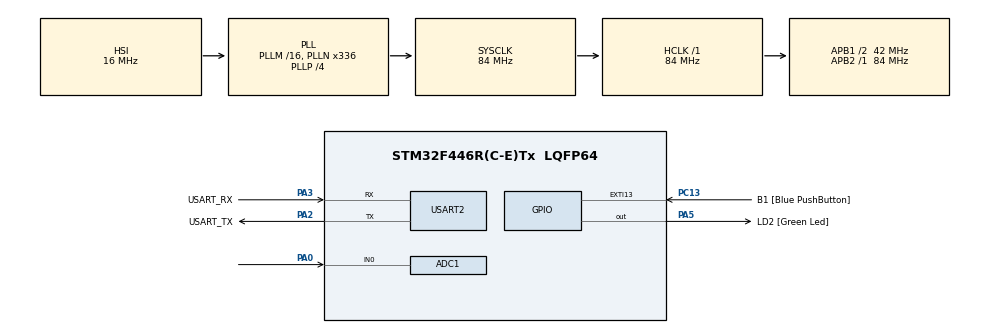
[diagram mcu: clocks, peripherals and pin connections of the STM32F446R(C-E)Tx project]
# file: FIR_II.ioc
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ADC1.Channel-0\#ChannelRegularConversion=ADC_CHANNEL_0
ADC1.ContinuousConvMode=DISABLE
ADC1.DMAContinuousRequests=ENABLE
ADC1.ExternalTrigConv=ADC_EXTERNALTRIGCONV_T3_TRGO
ADC1.NbrOfConversionFlag=1
ADC1.Rank-0\#ChannelRegularConversion=1
ADC1.SamplingTime-0\#ChannelRegularConversion=ADC_SAMPLETIME_3CYCLES
ADC1.master=1
Dma.ADC1.0.Direction=DMA_PERIPH_TO_MEMORY
Dma.ADC1.0.FIFOMode=DMA_FIFOMODE_DISABLE
Dma.ADC1.0.Instance=DMA2_Stream0
Dma.ADC1.0.MemDataAlignment=DMA_MDATAALIGN_HALFWORD
Dma.ADC1.0.MemInc=DMA_MINC_ENABLE
Dma.ADC1.0.Mode=DMA_CIRCULAR
Dma.ADC1.0.PeriphDataAlignment=DMA_PDATAALIGN_HALFWORD
Dma.ADC1.0.PeriphInc=DMA_PINC_DISABLE
Dma.ADC1.0.Priority=DMA_PRIORITY_LOW
Dma.Request0=ADC1
Mcu.Family=STM32F4
Mcu.Name=STM32F446R(C-E)Tx
Mcu.Package=LQFP64
NVIC.DMA2_Stream0_IRQn=true\:0\:0\:false\:false\:true\:false\:true\:true
NVIC.PriorityGroup=NVIC_PRIORITYGROUP_0
PA0-WKUP.Signal=ADCx_IN0
PA13.GPIO_Label=TMS
PA13.Mode=Serial_Wire
PA13.Signal=SYS_JTMS-SWDIO
PA14.GPIO_Label=TCK
PA14.Mode=Serial_Wire
PA14.Signal=SYS_JTCK-SWCLK
PA2.GPIO_Label=USART_TX
PA2.Mode=Asynchronous
PA2.Signal=USART2_TX
PA3.GPIO_Label=USART_RX
PA3.Mode=Asynchronous
PA3.Signal=USART2_RX
PA5.GPIO_Label=LD2 [Green Led]
PA5.Signal=GPIO_Output
PB3.GPIO_Label=SWO
PB3.Signal=SYS_JTDO-SWO
PC13.GPIO_Label=B1 [Blue PushButton]
PC13.GPIO_ModeDefaultEXTI=GPIO_MODE_IT_FALLING
PC13.Signal=GPXTI13
PC14-OSC32_IN.Mode=LSE-External-Oscillator
PC14-OSC32_IN.Signal=RCC_OSC32_IN
PC15-OSC32_OUT.Mode=LSE-External-Oscillator
PC15-OSC32_OUT.Signal=RCC_OSC32_OUT
PH0-OSC_IN.Mode=HSE-External-Oscillator
PH0-OSC_IN.Signal=RCC_OSC_IN
PH1-OSC_OUT.Mode=HSE-External-Oscillator
PH1-OSC_OUT.Signal=RCC_OSC_OUT
ProjectManager.HeapSize=0x200
ProjectManager.StackSize=0x400
ProjectManager.TargetToolchain=STM32CubeIDE
RCC.48MHZClocksFreq_Value=84000000
RCC.AHBFreq_Value=84000000
RCC.APB1CLKDivider=RCC_HCLK_DIV2
RCC.APB1Freq_Value=42000000
RCC.APB1TimFreq_Value=84000000
RCC.APB2Freq_Value=84000000
RCC.APB2TimFreq_Value=84000000
RCC.CortexFreq_Value=84000000
RCC.FLatency-AdvancedSettings=FLASH_LATENCY_2
RCC.HCLKFreq_Value=84000000
RCC.HSE_VALUE=8000000
RCC.HSI_VALUE=16000000
RCC.PLLN=336
RCC.PLLP=RCC_PLLP_DIV4
RCC.SYSCLKFreq_VALUE=84000000
RCC.SYSCLKSource=RCC_SYSCLKSOURCE_PLLCLK
RCC.USBFreq_Value=168000000
RCC.VCOOutputFreq_Value=336000000
SH.ADCx_IN0.0=ADC1_IN0,IN0
TIM3.Period=999
TIM3.Prescaler=83
TIM3.TIM_MasterOutputTrigger=TIM_TRGO_UPDATE
USART2.VirtualMode=VM_ASYNC
VP_TIM3_VS_ClockSourceINT.Mode=Internal
board=NUCLEO-F446RE

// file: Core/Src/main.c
/* USER CODE BEGIN Header */
/**
  ******************************************************************************
  * @file           : main.c
  * @brief          : Main program body
  ******************************************************************************
  * @attention
  *
  * Copyright (c) 2026 STMicroelectronics.
  * All rights reserved.
  *
  * This software is licensed under terms that can be found in the LICENSE file
  * in the root directory of this software component.
  * If no LICENSE file comes with this software, it is provided AS-IS.
  *
  ******************************************************************************
  */
/* USER CODE END Header */
#include "main.h"

/* USER CODE BEGIN Includes */
#include "filter_iir.h"
#include <stdio.h> // do printf
/* USER CODE END Includes */

ADC_HandleTypeDef hadc1;
DMA_HandleTypeDef hdma_adc1;

TIM_HandleTypeDef htim3;

UART_HandleTypeDef huart2;

/* USER CODE BEGIN PV */
#ifdef __GNUC__
/* Dla STM32CubeIDE i innych opartych na GCC */
#define PUTCHAR_PROTOTYPE int __io_putchar(int ch)
#else
#define PUTCHAR_PROTOTYPE int fputc(int ch, FILE *f)
#endif
extern UART_HandleTypeDef huart2;

PUTCHAR_PROTOTYPE
{
  // Wysyłamy jeden znak przez UART
  HAL_UART_Transmit(&huart2, (uint8_t *)&ch, 1, HAL_MAX_DELAY);
  return ch;
}
Filter2ndOrder_t myFilter;
uint16_t adc_raw = 0;
float filtered_value = 0;

float out_iir = 0;   // Twój obecny filtr II rzędu
float out_ema = 0;   // Filtr wykładniczy (kształt ładowania kondensatora)
float out_ma = 0;    // Średnia krocząca (kształt schodkowy/pudełkowy)

// Parametry dla EMA
const float ALPHA = 0.05f;

// Parametry dla Średniej Kroczącej (Moving Average)
#define MA_SIZE 16
float ma_buffer[MA_SIZE] = {0};
uint8_t ma_idx = 0;
/* USER CODE END PV */

void SystemClock_Config(void);
static void MX_GPIO_Init(void);
static void MX_DMA_Init(void);
static void MX_USART2_UART_Init(void);
static void MX_ADC1_Init(void);
static void MX_TIM3_Init(void);

int main(void)
{

  /* MCU Configuration--------------------------------------------------------*/

  /* Reset of all peripherals, Initializes the Flash interface and the Systick. */
  HAL_Init();

  /* Configure the system clock */
  SystemClock_Config();

  /* Initialize all configured peripherals */
  MX_GPIO_Init();
  MX_DMA_Init();
  MX_USART2_UART_Init();
  MX_ADC1_Init();
  MX_TIM3_Init();
  /* USER CODE BEGIN 2 */
  // Inicjalizacja filtra: LP Butterworth, Fc=10Hz, Fs=1000Hz
  // Współczynniki wyliczone dla powyższych parametrów:
  Filter_Init(&myFilter, 0.00094469f, 0.00188938f, 0.00094469f, -1.91119707f, 0.91497583f);

  HAL_ADC_Start_DMA(&hadc1, (uint32_t*)&adc_raw, 1);
  HAL_TIM_Base_Start(&htim3); // Start taktowania 1kHz
  /* USER CODE END 2 */

  /* Infinite loop */
  while (1)
  {

    /* USER CODE BEGIN 3 */
	  // 1. Twój obecny filtr II rzędu (Butterworth)
	  out_iir = Filter_Update(&myFilter, (float)adc_raw);

	  // 2. Filtr EMA (Exponential Moving Average) - daje gładki, "leniwy" kształt
	  out_ema = (ALPHA * (float)adc_raw) + ((1.0f - ALPHA) * out_ema);

	  // 3. Prosta średnia krocząca (Moving Average)
	  ma_buffer[ma_idx] = (float)adc_raw;
	  ma_idx = (ma_idx + 1) % MA_SIZE;
	  float sum = 0;
	  for(int i=0; i<MA_SIZE; i++) sum += ma_buffer[i];
	  out_ma = sum / MA_SIZE;

	  // 4. PRINTOWANIE - to jest kluczowe dla Oscyloskopu!
	  // Usuwamy opisy tekstowe, zostawiamy liczby po przecinku
	  printf("%d,%.2f,%.2f,%.2f\r\n", adc_raw, out_iir, out_ema, out_ma);

	  HAL_Delay(5); // Mały odstęp dla stabilności UART
  }
  /* USER CODE END 3 */
}

void SystemClock_Config(void)
{
  RCC_OscInitTypeDef RCC_OscInitStruct = {0};
  RCC_ClkInitTypeDef RCC_ClkInitStruct = {0};

  /** Configure the main internal regulator output voltage
  */
  __HAL_RCC_PWR_CLK_ENABLE();
  __HAL_PWR_VOLTAGESCALING_CONFIG(PWR_REGULATOR_VOLTAGE_SCALE3);

  /** Initializes the RCC Oscillators according to the specified parameters
  * in the RCC_OscInitTypeDef structure.
  */
  RCC_OscInitStruct.OscillatorType = RCC_OSCILLATORTYPE_HSI;
  RCC_OscInitStruct.HSIState = RCC_HSI_ON;
  RCC_OscInitStruct.HSICalibrationValue = RCC_HSICALIBRATION_DEFAULT;
  RCC_OscInitStruct.PLL.PLLState = RCC_PLL_ON;
  RCC_OscInitStruct.PLL.PLLSource = RCC_PLLSOURCE_HSI;
  RCC_OscInitStruct.PLL.PLLM = 16;
  RCC_OscInitStruct.PLL.PLLN = 336;
  RCC_OscInitStruct.PLL.PLLP = RCC_PLLP_DIV4;
  RCC_OscInitStruct.PLL.PLLQ = 2;
  RCC_OscInitStruct.PLL.PLLR = 2;
  if (HAL_RCC_OscConfig(&RCC_OscInitStruct) != HAL_OK)
  {
    Error_Handler();
  }

  /** Initializes the CPU, AHB and APB buses clocks
  */
  RCC_ClkInitStruct.ClockType = RCC_CLOCKTYPE_HCLK|RCC_CLOCKTYPE_SYSCLK
                              |RCC_CLOCKTYPE_PCLK1|RCC_CLOCKTYPE_PCLK2;
  RCC_ClkInitStruct.SYSCLKSource = RCC_SYSCLKSOURCE_PLLCLK;
  RCC_ClkInitStruct.AHBCLKDivider = RCC_SYSCLK_DIV1;
  RCC_ClkInitStruct.APB1CLKDivider = RCC_HCLK_DIV2;
  RCC_ClkInitStruct.APB2CLKDivider = RCC_HCLK_DIV1;

  if (HAL_RCC_ClockConfig(&RCC_ClkInitStruct, FLASH_LATENCY_2) != HAL_OK)
  {
    Error_Handler();
  }
}

static void MX_ADC1_Init(void)
{

  ADC_ChannelConfTypeDef sConfig = {0};

  /** Configure the global features of the ADC (Clock, Resolution, Data Alignment and number of conversion)
  */
  hadc1.Instance = ADC1;
  hadc1.Init.ClockPrescaler = ADC_CLOCK_SYNC_PCLK_DIV4;
  hadc1.Init.Resolution = ADC_RESOLUTION_12B;
  hadc1.Init.ScanConvMode = DISABLE;
  hadc1.Init.ContinuousConvMode = DISABLE;
  hadc1.Init.DiscontinuousConvMode = DISABLE;
  hadc1.Init.ExternalTrigConvEdge = ADC_EXTERNALTRIGCONVEDGE_RISING;
  hadc1.Init.ExternalTrigConv = ADC_EXTERNALTRIGCONV_T3_TRGO;
  hadc1.Init.DataAlign = ADC_DATAALIGN_RIGHT;
  hadc1.Init.NbrOfConversion = 1;
  hadc1.Init.DMAContinuousRequests = ENABLE;
  hadc1.Init.EOCSelection = ADC_EOC_SINGLE_CONV;
  if (HAL_ADC_Init(&hadc1) != HAL_OK)
  {
    Error_Handler();
  }

  /** Configure for the selected ADC regular channel its corresponding rank in the sequencer and its sample time.
  */
  sConfig.Channel = ADC_CHANNEL_0;
  sConfig.Rank = 1;
  sConfig.SamplingTime = ADC_SAMPLETIME_3CYCLES;
  if (HAL_ADC_ConfigChannel(&hadc1, &sConfig) != HAL_OK)
  {
    Error_Handler();
  }

}

static void MX_TIM3_Init(void)
{

  TIM_ClockConfigTypeDef sClockSourceConfig = {0};
  TIM_MasterConfigTypeDef sMasterConfig = {0};

  htim3.Instance = TIM3;
  htim3.Init.Prescaler = 83;
  htim3.Init.CounterMode = TIM_COUNTERMODE_UP;
  htim3.Init.Period = 999;
  htim3.Init.ClockDivision = TIM_CLOCKDIVISION_DIV1;
  htim3.Init.AutoReloadPreload = TIM_AUTORELOAD_PRELOAD_DISABLE;
  if (HAL_TIM_Base_Init(&htim3) != HAL_OK)
  {
    Error_Handler();
  }
  sClockSourceConfig.ClockSource = TIM_CLOCKSOURCE_INTERNAL;
  if (HAL_TIM_ConfigClockSource(&htim3, &sClockSourceConfig) != HAL_OK)
  {
    Error_Handler();
  }
  sMasterConfig.MasterOutputTrigger = TIM_TRGO_UPDATE;
  sMasterConfig.MasterSlaveMode = TIM_MASTERSLAVEMODE_DISABLE;
  if (HAL_TIMEx_MasterConfigSynchronization(&htim3, &sMasterConfig) != HAL_OK)
  {
    Error_Handler();
  }

}

static void MX_USART2_UART_Init(void)
{

  huart2.Instance = USART2;
  huart2.Init.BaudRate = 115200;
  huart2.Init.WordLength = UART_WORDLENGTH_8B;
  huart2.Init.StopBits = UART_STOPBITS_1;
  huart2.Init.Parity = UART_PARITY_NONE;
  huart2.Init.Mode = UART_MODE_TX_RX;
  huart2.Init.HwFlowCtl = UART_HWCONTROL_NONE;
  huart2.Init.OverSampling = UART_OVERSAMPLING_16;
  if (HAL_UART_Init(&huart2) != HAL_OK)
  {
    Error_Handler();
  }

}

static void MX_DMA_Init(void)
{

  /* DMA controller clock enable */
  __HAL_RCC_DMA2_CLK_ENABLE();

  /* DMA interrupt init */
  /* DMA2_Stream0_IRQn interrupt configuration */
  HAL_NVIC_SetPriority(DMA2_Stream0_IRQn, 0, 0);
  HAL_NVIC_EnableIRQ(DMA2_Stream0_IRQn);

}

static void MX_GPIO_Init(void)
{
  GPIO_InitTypeDef GPIO_InitStruct = {0};

  /* GPIO Ports Clock Enable */
  __HAL_RCC_GPIOC_CLK_ENABLE();
  __HAL_RCC_GPIOH_CLK_ENABLE();
  __HAL_RCC_GPIOA_CLK_ENABLE();
  __HAL_RCC_GPIOB_CLK_ENABLE();

  /*Configure GPIO pin Output Level */
  HAL_GPIO_WritePin(LD2_GPIO_Port, LD2_Pin, GPIO_PIN_RESET);

  /*Configure GPIO pin : B1_Pin */
  GPIO_InitStruct.Pin = B1_Pin;
  GPIO_InitStruct.Mode = GPIO_MODE_IT_FALLING;
  GPIO_InitStruct.Pull = GPIO_NOPULL;
  HAL_GPIO_Init(B1_GPIO_Port, &GPIO_InitStruct);

  /*Configure GPIO pin : LD2_Pin */
  GPIO_InitStruct.Pin = LD2_Pin;
  GPIO_InitStruct.Mode = GPIO_MODE_OUTPUT_PP;
  GPIO_InitStruct.Pull = GPIO_NOPULL;
  GPIO_InitStruct.Speed = GPIO_SPEED_FREQ_LOW;
  HAL_GPIO_Init(LD2_GPIO_Port, &GPIO_InitStruct);

}

void Error_Handler(void)
{
  __disable_irq();
  while (1)
  {
  }
}
